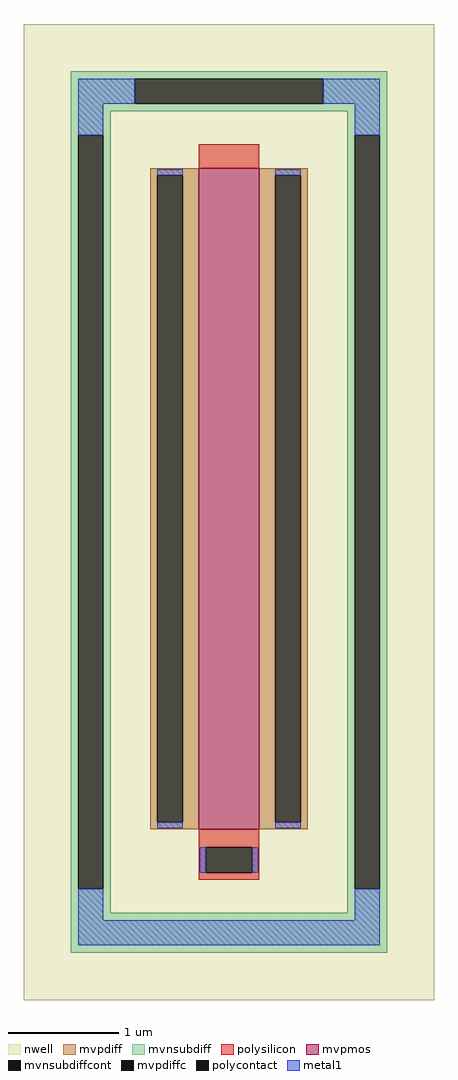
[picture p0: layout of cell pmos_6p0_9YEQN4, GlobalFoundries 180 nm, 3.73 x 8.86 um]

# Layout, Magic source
magic
tech gf180mcuD
magscale 1 10
<< nwell >>
rect -378 -886 368 886
<< mvpmos >>
rect -60 -576 50 624
<< mvpdiff >>
rect -148 611 -60 624
rect -148 -563 -135 611
rect -89 -563 -60 611
rect -148 -576 -60 -563
rect 50 611 138 624
rect 50 -563 79 611
rect 125 -563 138 611
rect 50 -576 138 -563
<< mvpdiffc >>
rect -135 -563 -89 611
rect 79 -563 125 611
<< mvnsubdiff >>
rect -292 787 282 800
rect -292 741 -176 787
rect 166 741 282 787
rect -292 728 282 741
rect -292 684 -220 728
rect -292 -684 -279 684
rect -233 -684 -220 684
rect 210 684 282 728
rect -292 -728 -220 -684
rect 210 -684 223 684
rect 269 -684 282 684
rect 210 -728 282 -684
rect -292 -800 282 -728
<< mvnsubdiffcont >>
rect -176 741 166 787
rect -279 -684 -233 684
rect 223 -684 269 684
<< polysilicon >>
rect -60 624 50 668
rect -60 -609 50 -576
rect -60 -655 -47 -609
rect 37 -655 50 -609
rect -60 -668 50 -655
<< polycontact >>
rect -47 -655 37 -609
<< metal1 >>
rect -279 741 -176 787
rect 166 741 269 787
rect -279 684 -233 741
rect 223 684 269 741
rect -135 611 -89 622
rect -135 -574 -89 -563
rect 79 611 125 622
rect 79 -574 125 -563
rect -58 -655 -47 -609
rect 37 -655 48 -609
rect -279 -741 -233 -684
rect 223 -741 269 -684
rect -279 -787 269 -741
<< properties >>
string FIXED_BBOX -246 -764 246 764
string gencell pmos_6p0
string library gf180mcu
string parameters w 6.0 l 0.5 m 1 nf 1 diffcov 100 polycov 100 guard 1 glc 1 grc 1 gtc 1 gbc 0 tbcov 100 rlcov 100 topc 0 botc 1 poverlap 0 doverlap 1 lmin 0.5 wmin 0.3 full_metal 1 compatible {pmos_3p3 pmos_6p0}
<< end >>
